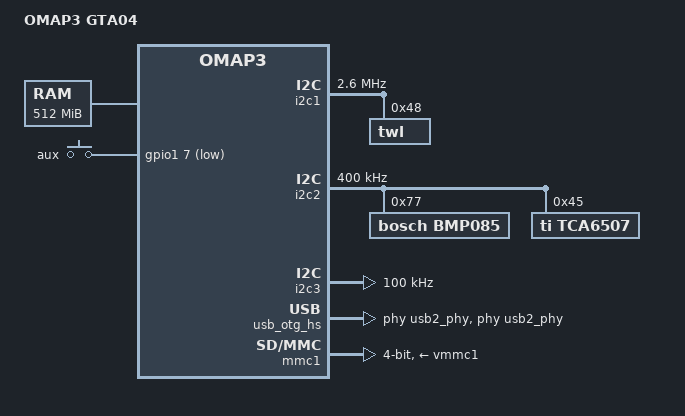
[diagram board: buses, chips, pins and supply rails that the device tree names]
/*
 * Copyright (C) 2013 Marek Belisko <marek@goldelico.com>
 *
 * Based on omap3-beagle-xm.dts
 *
 * This program is free software; you can redistribute it and/or modify
 * it under the terms of the GNU General Public License version 2 as
 * published by the Free Software Foundation.
 */
/dts-v1/;

#include "omap36xx.dtsi"

/ {
	model = "OMAP3 GTA04";
	compatible = "ti,omap3-gta04", "ti,omap3";

	cpus {
		cpu@0 {
			cpu0-supply = <&vcc>;
		};
	};

	memory {
		device_type = "memory";
		reg = <0x80000000 0x20000000>; /* 512 MB */
	};

	gpio-keys {
		compatible = "gpio-keys";

		aux-button {
			label = "aux";
			linux,code = <169>;
			gpios = <&gpio1 7 GPIO_ACTIVE_LOW>;
			gpio-key,wakeup;
		};
	};
};

&omap3_pmx_core {
	uart1_pins: pinmux_uart1_pins {
		pinctrl-single,pins = <
			0x152 (PIN_INPUT | MUX_MODE0)		/* uart1_rx.uart1_rx */
			0x14c (PIN_OUTPUT |MUX_MODE0)		/* uart1_tx.uart1_tx */
		>;
	};

	uart2_pins: pinmux_uart2_pins {
		pinctrl-single,pins = <
			0x14a (PIN_INPUT | MUX_MODE0)		/* uart2_rx.uart2_rx */
			0x148 (PIN_OUTPUT | MUX_MODE0)		/* uart2_tx.uart2_tx */
		>;
	};

	uart3_pins: pinmux_uart3_pins {
		pinctrl-single,pins = <
			0x16e (PIN_INPUT | MUX_MODE0)		/* uart3_rx.uart3_rx */
			0x170 (PIN_OUTPUT | MUX_MODE0)		/* uart3_tx.uart3_tx */
		>;
	};

	mmc1_pins: pinmux_mmc1_pins {
		pinctrl-single,pins = <
			0x114 (PIN_INPUT_PULLUP | MUX_MODE0)	/* sdmmc1_clk.sdmmc1_clk */
			0x116 (PIN_INPUT_PULLUP | MUX_MODE0)	/* sdmmc1_cmd.sdmmc1_cmd */
			0x118 (PIN_INPUT_PULLUP | MUX_MODE0) 	/* sdmmc1_dat0.sdmmc1_dat0 */
			0x11a (PIN_INPUT_PULLUP | MUX_MODE0)	/* sdmmc1_dat1.sdmmc1_dat1 */
			0x11c (PIN_INPUT_PULLUP | MUX_MODE0)	/* sdmmc1_dat2.sdmmc1_dat2 */
			0x11e (PIN_INPUT_PULLUP | MUX_MODE0)	/* sdmmc1_dat3.sdmmc1_dat3 */
		>;
	};
};

&i2c1 {
	clock-frequency = <2600000>;

	twl: twl@48 {
		reg = <0x48>;
		interrupts = <7>; /* SYS_NIRQ cascaded to intc */
		interrupt-parent = <&intc>;
	};
};

#include "twl4030.dtsi"
#include "twl4030_omap3.dtsi"

&i2c2 {
	clock-frequency = <400000>;

	/* pressure sensor */
	bmp085@77 {
		compatible = "bosch,bmp085";
		reg = <0x77>;
	};

	/* leds */
	tca6507@45 {
		compatible = "ti,tca6507";
		#address-cells = <1>;
		#size-cells = <0>;
		reg = <0x45>;

		gta04_led0: red_aux@0 {
			label = "gta04:red:aux";
			reg = <0x0>;
		};

		gta04_led1: green_aux@1 {
			label = "gta04:green:aux";
			reg = <0x1>;
		};

		gta04_led3: red_power@3 {
			label = "gta04:red:power";
			reg = <0x3>;
			linux,default-trigger = "default-on";
		};

		gta04_led4: green_power@4 {
			label = "gta04:green:power";
			reg = <0x4>;
		};
	};
};

&i2c3 {
	clock-frequency = <100000>;
};

&usb_otg_hs {
	interface-type = <0>;
	usb-phy = <&usb2_phy>;
	phys = <&usb2_phy>;
	phy-names = "usb2-phy";
	mode = <3>;
	power = <50>;
};

&mmc1 {
	pinctrl-names = "default";
	pinctrl-0 = <&mmc1_pins>;
	vmmc-supply = <&vmmc1>;
	vmmc_aux-supply = <&vsim>;
	bus-width = <4>;
};

&mmc2 {
	status = "disabled";
};

&mmc3 {
	status = "disabled";
};

&uart1 {
	pinctrl-names = "default";
	pinctrl-0 = <&uart1_pins>;
};

&uart2 {
	pinctrl-names = "default";
	pinctrl-0 = <&uart2_pins>;
};

&uart3 {
	pinctrl-names = "default";
	pinctrl-0 = <&uart3_pins>;
};

